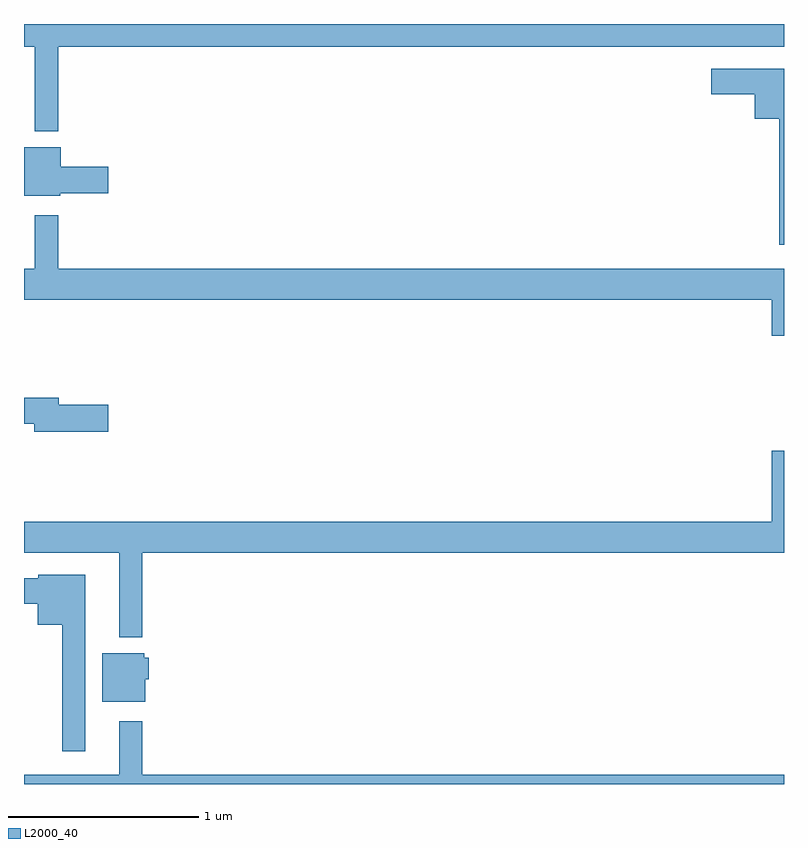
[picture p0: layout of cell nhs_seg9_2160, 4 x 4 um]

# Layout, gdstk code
import gdstk
lib = gdstk.Library(unit=1e-6, precision=1e-09)
def P(c, l, *ps):  # polygons
    for p in ps: c.add(gdstk.Polygon(p, *l))
L2000_40 = (2000, 40)

nhs_seg9_2160 = lib.new_cell('nhs_seg9_2160')
P(nhs_seg9_2160, L2000_40, [(233.179,1236.38),(237,1236.38),(237,1236.5),(233,1236.5),(233,1236.38),(233.057,1236.38),(233.057,1235.936),(233.179,1235.936)],
  [(237,1236.265),(236.616,1236.265),(236.616,1236.131),(236.846,1236.131),(236.846,1236.002),(236.976,1236.002),(236.976,1235.337),(237,1235.337)],
  [(233.19,1235.608),(233.443,1235.608),(233.443,1235.75),(233.194,1235.75),(233.194,1235.851),(233,1235.851),(233,1235.597),(233.19,1235.597)],
  [(237,1235.212),(233.179,1235.212),(233.179,1235.494),(233.057,1235.494),(233.057,1235.212),(233,1235.212),(233,1235.048),(236.936,1235.048),(236.936,1234.86),(237,1234.86)],
  [(233.443,1234.496),(233.182,1234.496),(233.182,1234.532),(233,1234.532),(233,1234.396),(233.054,1234.396),(233.054,1234.354),(233.443,1234.354)],
  [(233.623,1233.716),(237,1233.716),(237,1234.255),(236.936,1234.255),(236.936,1233.88),(233,1233.88),(233,1233.716),(233.501,1233.716),(233.501,1233.272),(233.623,1233.272)],
  [(233.323,1233.601),(233.076,1233.601),(233.076,1233.583),(233,1233.583),(233,1233.449),(233.072,1233.449),(233.072,1233.338),(233.202,1233.338),(233.202,1232.673),(233.323,1232.673)],
  [(233.638,1233.051),(233.656,1233.051),(233.656,1233.165),(233.634,1233.165),(233.634,1233.187),(233.411,1233.187),(233.411,1232.933),(233.638,1232.933)],
  [(237,1232.548),(233.623,1232.548),(233.623,1232.83),(233.501,1232.83),(233.501,1232.548),(233,1232.548),(233,1232.5),(237,1232.5)])

lib.write_gds('nhs_seg9_2160.gds')
